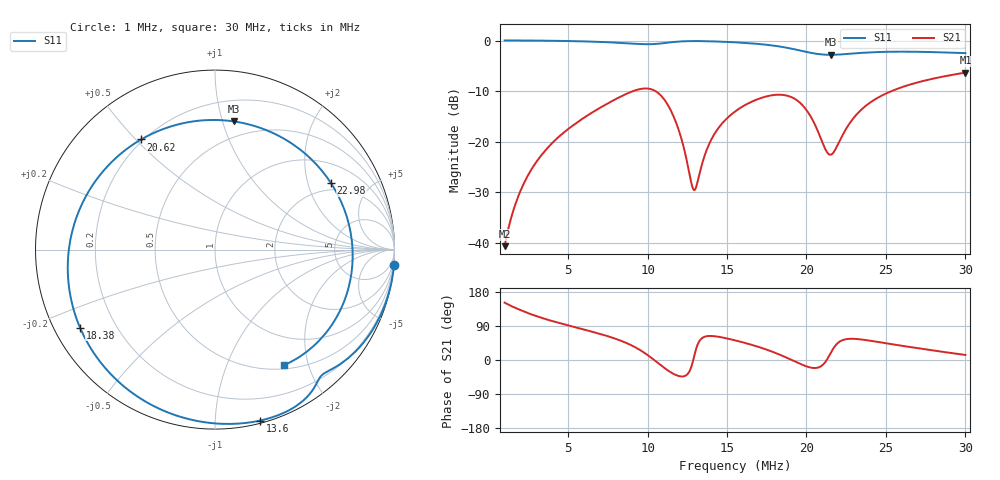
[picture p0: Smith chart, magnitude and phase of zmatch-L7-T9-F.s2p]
# HZ S RI R 50
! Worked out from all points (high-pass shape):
!   505 points, 1 MHz to 30 MHz, reference 50 ohm
!   highest |S21| = -6.36 dB at 30 MHz (marker M1); lowest = -40.7 dB at 1 MHz (marker M2)
!   |S21| within 3 dB of the highest: 25.9 MHz to end of sweep
!   lowest |S11| = -2.8 dB at 21.54 MHz (marker M3), VSWR 6.19, Z = 18.3 + j54.6 ohm
!   |S11| at or under -10 dB: nowhere
!   S12 and S22 are empty: the file has one direction only
!   S11 on the Smith chart (normalised r, x): 1 MHz: -0, -23; 13.6 MHz: 0.02, -1.30; 18.38 MHz: 0.08, -0.27; 20.62 MHz: 0.19, +0.52; 22.98 MHz: 1.70, +2.83; 30 MHz: 0.55, -1.62
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1000000  0.9971 -0.087  -0.00809 0.00442  0 0  0 0
1805560  0.9883 -0.1555  -0.0193 0.0192  0 0  0 0
2726200  0.9711 -0.2333  -0.0269 0.047  0 0  0 0
5833360  0.8554 -0.4811  0.0228 0.1639  0 0  0 0
8825440  0.6668 -0.6568  0.2265 0.2031  0 0  0 0
1.066672e7  0.5742 -0.7301  0.2988 -0.044  0 0  0 0
1.181752e7  0.499 -0.8344  0.1147 -0.0972  0 0  0 0
1.291078e7  0.358 -0.9203  0.0329 0.00377  0 0  0 0
1.360126e7  0.2497 -0.9527  0.035 0.0647  0 0  0 0
1.434928e7  0.1207 -0.9699  0.0604 0.1138  0 0  0 0
1.550008e7  -0.1047 -0.9538  0.1221 0.1559  0 0  0 0
1.71112e7  -0.4752 -0.7879  0.2262 0.1455  0 0  0 0
1.837708e7  -0.7518 -0.4349  0.2832 0.0651  0 0  0 0
1.94128e7  -0.8062 0.0532  0.2533 -0.0298  0 0  0 0
2.033344e7  -0.5519 0.5108  0.1585 -0.0592  0 0  0 0
2.062114e7  -0.4117 0.6135  0.1278 -0.0488  0 0  0 0
2.154178e7  0.1061 0.7139  0.0698 0.0252  0 0  0 0
2.298028e7  0.6466 0.3698  0.0967 0.1427  0 0  0 0
2.390092e7  0.7555 0.0955  0.147 0.1853  0 0  0 0
2.51668e7  0.7475 -0.1989  0.224 0.2097  0 0  0 0
2.729578e7  0.5979 -0.4878  0.3454 0.1937  0 0  0 0
3.000016e7  0.3849 -0.6437  0.4681 0.1108  0 0  0 0
